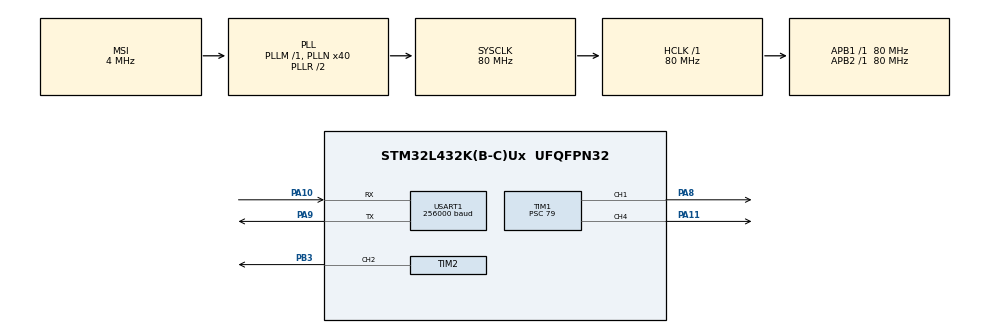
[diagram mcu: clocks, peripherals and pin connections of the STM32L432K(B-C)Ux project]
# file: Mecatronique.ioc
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Dma.Request0=USART1_RX
Dma.USART1_RX.0.Direction=DMA_PERIPH_TO_MEMORY
Dma.USART1_RX.0.Instance=DMA1_Channel5
Dma.USART1_RX.0.MemDataAlignment=DMA_MDATAALIGN_BYTE
Dma.USART1_RX.0.MemInc=DMA_MINC_ENABLE
Dma.USART1_RX.0.Mode=DMA_CIRCULAR
Dma.USART1_RX.0.PeriphDataAlignment=DMA_PDATAALIGN_BYTE
Dma.USART1_RX.0.PeriphInc=DMA_PINC_DISABLE
Dma.USART1_RX.0.Priority=DMA_PRIORITY_MEDIUM
Mcu.Family=STM32L4
Mcu.Name=STM32L432K(B-C)Ux
Mcu.Package=UFQFPN32
NVIC.DMA1_Channel5_IRQn=true\:0\:0\:false\:false\:true\:false\:true\:true
NVIC.PriorityGroup=NVIC_PRIORITYGROUP_4
NVIC.USART1_IRQn=true\:0\:0\:false\:false\:true\:true\:true\:true
PA10.Mode=Asynchronous
PA10.Signal=USART1_RX
PA11.Signal=S_TIM1_CH4
PA13\ (JTMS-SWDIO).Mode=Serial_Wire
PA13\ (JTMS-SWDIO).Signal=SYS_JTMS-SWDIO
PA14\ (JTCK-SWCLK).Mode=Serial_Wire
PA14\ (JTCK-SWCLK).Signal=SYS_JTCK-SWCLK
PA8.Signal=S_TIM1_CH1
PA9.Mode=Asynchronous
PA9.Signal=USART1_TX
PB3\ (JTDO-TRACESWO).Signal=S_TIM2_CH2
ProjectManager.HeapSize=0x200
ProjectManager.StackSize=0x400
ProjectManager.TargetToolchain=STM32CubeIDE
RCC.AHBFreq_Value=80000000
RCC.APB1Freq_Value=80000000
RCC.APB1TimFreq_Value=80000000
RCC.APB2Freq_Value=80000000
RCC.APB2TimFreq_Value=80000000
RCC.CortexFreq_Value=80000000
RCC.HCLKFreq_Value=80000000
RCC.HSE_VALUE=8000000
RCC.HSI48_VALUE=48000000
RCC.HSI_VALUE=16000000
RCC.LSE_VALUE=32768
RCC.MSI_VALUE=4000000
RCC.PLLN=40
RCC.SYSCLKFreq_VALUE=80000000
RCC.SYSCLKSource=RCC_SYSCLKSOURCE_PLLCLK
RCC.VCOOutputFreq_Value=160000000
SH.S_TIM1_CH1.0=TIM1_CH1,PWM Generation1 CH1
SH.S_TIM1_CH4.0=TIM1_CH4,PWM Generation4 CH4
SH.S_TIM2_CH2.0=TIM2_CH2,PWM Generation2 CH2
TIM1.Channel-PWM\ Generation1\ CH1=TIM_CHANNEL_1
TIM1.Channel-PWM\ Generation4\ CH4=TIM_CHANNEL_4
TIM1.Period=19999
TIM1.Prescaler=79
TIM2.Channel-PWM\ Generation2\ CH2=TIM_CHANNEL_2
TIM2.Period=39
TIM2.Prescaler=79
USART1.BaudRate=256000
USART1.VirtualMode-Asynchronous=VM_ASYNC
VP_TIM1_VS_ClockSourceINT.Mode=Internal
VP_TIM2_VS_ClockSourceINT.Mode=Internal
board=custom

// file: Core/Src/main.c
/* USER CODE BEGIN Header */
/**
  ******************************************************************************
  * @file           : main.c
  * @brief          : Main program body
  ******************************************************************************
  * @attention
  *
  * Copyright (c) 2025 STMicroelectronics.
  * All rights reserved.
  *
  * This software is licensed under terms that can be found in the LICENSE file
  * in the root directory of this software component.
  * If no LICENSE file comes with this software, it is provided AS-IS.
  *
  ******************************************************************************
  */
/* USER CODE END Header */
#include "main.h"
#include "tim.h"
#include "usart.h"
#include "gpio.h"

/* USER CODE BEGIN Includes */

#include <CoVAPSy_Lidar.h>
#include "CoVAPSy_moteurs.h"

/* USER CODE END Includes */

/* USER CODE BEGIN PV */

uint8_t Data_RX_LIDAR;
uint16_t Data_Lidar_mm[360];
uint8_t drapeau_fin_tour = 0;
uint16_t data_lidar_mm_main[360];

/////////////
float angle_degre, vitesse_m_s;

/* USER CODE END PV */

void SystemClock_Config(void);

int main(void)
{

  /* USER CODE BEGIN 1 */
	uint8_t drapeau_fin_tour_old = 0;			// Variable pour le LiDAR
	uint32_t i = 0;

  /* USER CODE END 1 */

  /* MCU Configuration--------------------------------------------------------*/

  /* Reset of all peripherals, Initializes the Flash interface and the Systick. */
  HAL_Init();

  /* Configure the system clock */
  SystemClock_Config();

  /* Initialize all configured peripherals */
  MX_GPIO_Init();
  MX_TIM1_Init();
  MX_TIM2_Init();
  MX_USART1_UART_Init();
  /* USER CODE BEGIN 2 */

  Lidar_init();
  HAL_UART_Receive_IT(&huart1, &Data_RX_LIDAR, 1);
  Propulsion_init();
  Direction_init();

  /* USER CODE END 2 */

  /* Infinite loop */
  /* USER CODE BEGIN WHILE */
	/*set_direction_degres(0);
	HAL_Delay(1500);
	set_direction_degres(-10);
	HAL_Delay(1500);
	set_direction_degres(10);
	HAL_Delay(500);
	set_direction_degres(0);
	HAL_Delay(500);*/

	set_vitesse_m_s(1.0);
	HAL_Delay(1000);
	set_vitesse_m_s(2.0);
	HAL_Delay(1000);
	set_vitesse_m_s(3.0);
	HAL_Delay(1000);
	set_vitesse_m_s(0.0);
	HAL_Delay(1000);
	recule();
	HAL_Delay(1000);
	set_vitesse_m_s(0.0);
	HAL_Delay(1000);

  while (1)
  {

	  ///////////////////////////////////////////////////////////////////////////////////////////
	 //Recopie du tableau lidar en fin de tour, avec passage de sens horaire à sens trigo///////
	///////////////////////////////////////////////////////////////////////////////////////////
	if ((drapeau_fin_tour == 1) && (drapeau_fin_tour_old == 0)) {
		for (i = 0; i < 360; i++) {
			data_lidar_mm_main[i] = Data_Lidar_mm[i];
		}
	}
	drapeau_fin_tour_old = drapeau_fin_tour;

	//////////////////////////////////////////////////////////////////////////////
	/////// Gestion de la direction en fonction des données LIDAR
	//////////////////////////////////////////////////////////////////////////////
	angle_degre = 0.02 * (data_lidar_mm_main[60] - data_lidar_mm_main[300]); //distance à 60° - distance à -60°
	set_direction_degres(angle_degre);

	vitesse_m_s = 0.5;
	set_vitesse_m_s(vitesse_m_s);

    /* USER CODE END WHILE */

  }
}

void SystemClock_Config(void)
{
  RCC_OscInitTypeDef RCC_OscInitStruct = {0};
  RCC_ClkInitTypeDef RCC_ClkInitStruct = {0};

  /** Configure the main internal regulator output voltage
  */
  if (HAL_PWREx_ControlVoltageScaling(PWR_REGULATOR_VOLTAGE_SCALE1) != HAL_OK)
  {
    Error_Handler();
  }

  /** Initializes the RCC Oscillators according to the specified parameters
  * in the RCC_OscInitTypeDef structure.
  */
  RCC_OscInitStruct.OscillatorType = RCC_OSCILLATORTYPE_MSI;
  RCC_OscInitStruct.MSIState = RCC_MSI_ON;
  RCC_OscInitStruct.MSICalibrationValue = 0;
  RCC_OscInitStruct.MSIClockRange = RCC_MSIRANGE_6;
  RCC_OscInitStruct.PLL.PLLState = RCC_PLL_ON;
  RCC_OscInitStruct.PLL.PLLSource = RCC_PLLSOURCE_MSI;
  RCC_OscInitStruct.PLL.PLLM = 1;
  RCC_OscInitStruct.PLL.PLLN = 40;
  RCC_OscInitStruct.PLL.PLLP = RCC_PLLP_DIV7;
  RCC_OscInitStruct.PLL.PLLQ = RCC_PLLQ_DIV2;
  RCC_OscInitStruct.PLL.PLLR = RCC_PLLR_DIV2;
  if (HAL_RCC_OscConfig(&RCC_OscInitStruct) != HAL_OK)
  {
    Error_Handler();
  }

  /** Initializes the CPU, AHB and APB buses clocks
  */
  RCC_ClkInitStruct.ClockType = RCC_CLOCKTYPE_HCLK|RCC_CLOCKTYPE_SYSCLK
                              |RCC_CLOCKTYPE_PCLK1|RCC_CLOCKTYPE_PCLK2;
  RCC_ClkInitStruct.SYSCLKSource = RCC_SYSCLKSOURCE_PLLCLK;
  RCC_ClkInitStruct.AHBCLKDivider = RCC_SYSCLK_DIV1;
  RCC_ClkInitStruct.APB1CLKDivider = RCC_HCLK_DIV1;
  RCC_ClkInitStruct.APB2CLKDivider = RCC_HCLK_DIV1;

  if (HAL_RCC_ClockConfig(&RCC_ClkInitStruct, FLASH_LATENCY_4) != HAL_OK)
  {
    Error_Handler();
  }
}

/* USER CODE BEGIN 4 */

void HAL_UART_RxCpltCallback(UART_HandleTypeDef *huart) {
	static uint32_t index = 0;
	static uint8_t drapeau_demarrage = 0;  // Variable pour indiquer la réception des 7 premiers octets
	static uint8_t tableau_trame[7];      // Variable de stockage des 7 premiers octets
	uint16_t angle;
	uint16_t distance;

	//////////////////////////////////////////////////////////////////////////////
	/////// Réception des sept octets correspondant au descriptor     ////////////
	//////////////////////////////////////////////////////////////////////////////
	if (drapeau_demarrage == 0) {
		tableau_trame[index] = Data_RX_LIDAR;
		index++;
	}
	if ((index == 7) && (drapeau_demarrage == 0)) {
		index = 0;
		drapeau_demarrage = 1;				// Fin des sept octets du descriptor
	}

	//////////////////////////////////////////////////////////////////////////////
	/////// Réception des données par groupe de 5 octets          	   /////////
	/////// Qualité (1 octet), Angle (2 octets) et Distance (2 octets)   /////////
	//////////////////////////////////////////////////////////////////////////////
	if (drapeau_demarrage == 1) {
		if (index <= 4) {
			if ((Data_RX_LIDAR == 0x3e) || (Data_RX_LIDAR == 0x3d)) //trame de démarrage
				index = 0;
			tableau_trame[index] = Data_RX_LIDAR;
			if ((tableau_trame[0] == 0x3e) || (tableau_trame[0] == 0x3d))
				index++;
		}
		///////////////////////////////////////////////////////////
		/////// Traitement de donnée pour convertir      	/////////
		/////// les octets reçus en données réelles       /////////
		//////////////////////////////////////////////////////////
		if (index >= 5) {
			index = 0;
			angle = ((uint16_t) tableau_trame[2] << 1)
					+ ((uint16_t) tableau_trame[1] >> 7);
			distance = ((uint16_t) tableau_trame[4] << 6)
					+ ((uint16_t) tableau_trame[3] >> 2);

			////// Stockage de la distance mesurée dans le tableau à l'indice associé à l'angle
			if (angle == 0)
				Data_Lidar_mm[0] = distance;
			if ((angle < 360) && (angle > 0))
				Data_Lidar_mm[360 - angle] = distance;

			///////////////////////////////////////////////////////////
			///////  Détection de la fin d'un tour    	    /////////
			//////////////////////////////////////////////////////////
			if ((angle > 100) && (angle < 180) && (drapeau_fin_tour == 0)) {
				drapeau_fin_tour = 1;
			}
			if ((angle > 270) && (angle < 360) && (drapeau_fin_tour == 1)) {
				drapeau_fin_tour = 0;
			}

		}

	}

	///// Ré-activation de l'interruption UART RX
	HAL_UART_Receive_IT(&huart1, &Data_RX_LIDAR, 1);
}

/* USER CODE END 4 */

void Error_Handler(void)
{
  __disable_irq();
  while (1)
  {
  }
}
